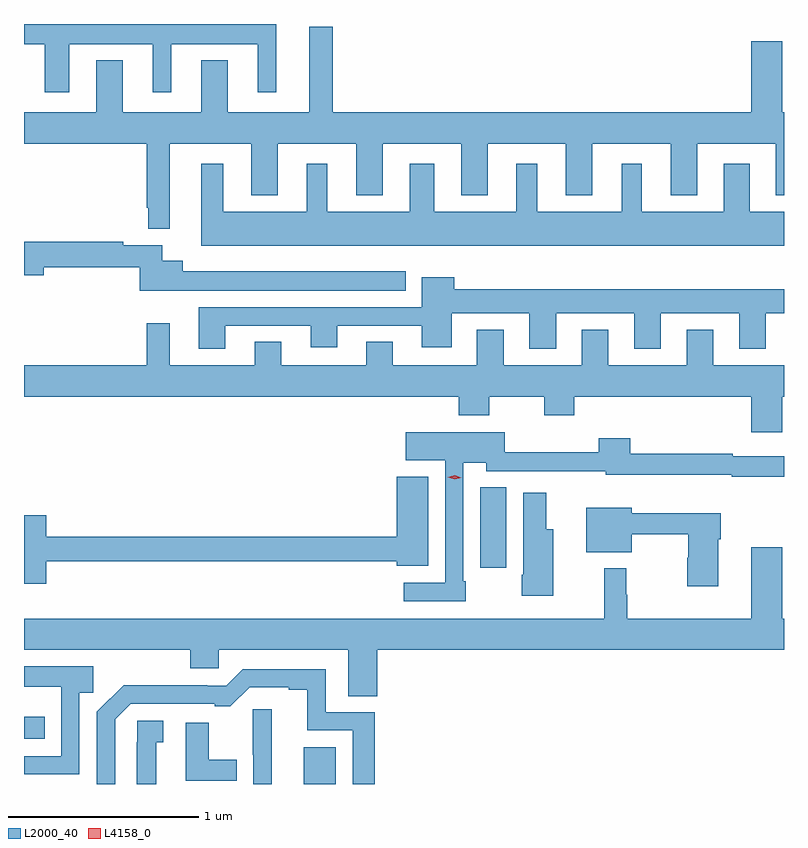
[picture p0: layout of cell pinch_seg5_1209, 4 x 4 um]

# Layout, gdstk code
import gdstk
lib = gdstk.Library(unit=1e-6, precision=1e-09)
def R(c, l, rs):  # rectangles x0, y0, x1, y1
    for r in rs: c.add(gdstk.rectangle(r[:2], r[2:], *l))
def P(c, l, *ps):  # polygons
    for p in ps: c.add(gdstk.Polygon(p, *l))
L2000_40 = (2000, 40)
L4158_0 = (4158, 0)

pinch_seg5_1209 = lib.new_cell('pinch_seg5_1209')
R(pinch_seg5_1209, L2000_40, [(450.365,897.345,450.535,897.538), (448.893,897.582,449.003,897.699), (451.295,898.482,451.432,898.907)])
P(pinch_seg5_1209, L2000_40, [(449.131,901.238),(449.57,901.238),(449.57,900.987),(449.668,900.987),(449.668,901.238),(450.122,901.238),(450.122,900.987),(450.22,900.987),(450.22,901.345),(448.893,901.345),(448.893,901.238),(449.003,901.238),(449.003,900.987),(449.131,900.987)],
  [(449.659,900.716),(450.089,900.716),(450.089,900.443),(450.229,900.443),(450.229,900.716),(450.641,900.716),(450.641,900.443),(450.781,900.443),(450.781,900.716),(451.193,900.716),(451.193,900.443),(451.333,900.443),(451.333,900.716),(451.745,900.716),(451.745,900.443),(451.885,900.443),(451.885,900.716),(452.297,900.716),(452.297,900.443),(452.437,900.443),(452.437,900.716),(452.849,900.716),(452.849,900.443),(452.893,900.443),(452.893,900.88),(452.884,900.88),(452.884,901.255),(452.72,901.255),(452.72,900.88),(450.517,900.88),(450.517,901.33),(450.395,901.33),(450.395,900.88),(449.965,900.88),(449.965,901.153),(449.825,901.153),(449.825,900.88),(449.413,900.88),(449.413,901.153),(449.273,901.153),(449.273,900.88),(448.893,900.88),(448.893,900.716),(449.538,900.716),(449.538,900.379),(449.546,900.379),(449.546,900.267),(449.659,900.267)],
  [(452.893,900.358),(452.713,900.358),(452.713,900.61),(452.576,900.61),(452.576,900.358),(452.143,900.358),(452.143,900.61),(452.039,900.61),(452.039,900.358),(451.594,900.358),(451.594,900.61),(451.484,900.61),(451.484,900.358),(451.051,900.358),(451.051,900.61),(450.923,900.61),(450.923,900.358),(450.49,900.358),(450.49,900.61),(450.38,900.61),(450.38,900.358),(449.941,900.358),(449.941,900.61),(449.825,900.61),(449.825,900.179),(452.893,900.179)],
  [(450.901,900.043),(449.728,900.043),(449.728,900.1),(449.621,900.1),(449.621,900.18),(449.416,900.18),(449.416,900.2),(448.893,900.2),(448.893,900.022),(448.996,900.022),(448.996,900.064),(449.503,900.064),(449.503,899.942),(450.901,899.942)],
  [(449.953,899.757),(450.401,899.757),(450.401,899.645),(450.541,899.645),(450.541,899.757),(450.986,899.757),(450.986,899.645),(451.144,899.645),(451.144,899.822),(451.553,899.822),(451.553,899.637),(451.693,899.637),(451.693,899.822),(452.105,899.822),(452.105,899.637),(452.245,899.637),(452.245,899.822),(452.657,899.822),(452.657,899.637),(452.797,899.637),(452.797,899.822),(452.893,899.822),(452.893,899.95),(451.157,899.95),(451.157,900.013),(450.986,900.013),(450.986,899.853),(449.813,899.853),(449.813,899.637),(449.953,899.637)],
  [(452.884,899.384),(452.893,899.384),(452.893,899.548),(452.521,899.548),(452.521,899.737),(452.381,899.737),(452.381,899.548),(451.969,899.548),(451.969,899.737),(451.829,899.737),(451.829,899.548),(451.417,899.548),(451.417,899.737),(451.277,899.737),(451.277,899.548),(450.835,899.548),(450.835,899.672),(450.695,899.672),(450.695,899.548),(450.247,899.548),(450.247,899.672),(450.107,899.672),(450.107,899.548),(449.659,899.548),(449.659,899.77),(449.538,899.77),(449.538,899.548),(448.893,899.548),(448.893,899.384),(451.181,899.384),(451.181,899.285),(451.341,899.285),(451.341,899.384),(451.63,899.384),(451.63,899.285),(451.79,899.285),(451.79,899.384),(452.72,899.384),(452.72,899.196),(452.884,899.196)],
  [(451.219,898.411),(451.206,898.411),(451.206,899.036),(451.326,899.036),(451.326,898.992),(451.738,898.992),(451.738,898.991),(451.956,898.991),(451.956,898.973),(452.619,898.973),(452.619,898.962),(452.893,898.962),(452.893,899.07),(452.624,899.07),(452.624,899.083),(452.084,899.083),(452.084,899.164),(451.919,899.164),(451.919,899.09),(451.422,899.09),(451.422,899.197),(450.903,899.197),(450.903,899.048),(451.11,899.048),(451.11,898.404),(450.891,898.404),(450.891,898.308),(451.219,898.308)],
  [(449.009,898.518),(450.854,898.518),(450.854,898.493),(451.021,898.493),(451.021,898.963),(450.854,898.963),(450.854,898.646),(449.009,898.646),(449.009,898.759),(448.893,898.759),(448.893,898.398),(449.009,898.398)],
  [(451.678,898.687),(451.642,898.687),(451.642,898.879),(451.52,898.879),(451.52,898.447),(451.513,898.447),(451.513,898.335),(451.678,898.335)],
  [(452.548,898.634),(452.561,898.634),(452.561,898.769),(452.092,898.769),(452.092,898.798),(451.853,898.798),(451.853,898.565),(452.092,898.565),(452.092,898.659),(452.39,898.659),(452.39,898.536),(452.383,898.536),(452.383,898.386),(452.548,898.386)],
  [(450.752,898.052),(452.893,898.052),(452.893,898.216),(452.884,898.216),(452.884,898.591),(452.72,898.591),(452.72,898.216),(452.069,898.216),(452.069,898.34),(452.062,898.34),(452.062,898.48),(451.948,898.48),(451.948,898.216),(448.893,898.216),(448.893,898.052),(449.768,898.052),(449.768,897.954),(449.919,897.954),(449.919,898.052),(450.599,898.052),(450.599,897.808),(450.752,897.808)],
  [(449.184,897.826),(449.258,897.826),(449.258,897.964),(448.893,897.964),(448.893,897.858),(449.088,897.858),(449.088,897.492),(448.893,897.492),(448.893,897.396),(449.184,897.396)],
  [(449.373,897.687),(449.454,897.768),(449.897,897.768),(449.897,897.753),(449.979,897.753),(450.08,897.854),(450.287,897.854),(450.287,897.84),(450.383,897.84),(450.383,897.627),(450.624,897.627),(450.624,897.345),(450.74,897.345),(450.74,897.723),(450.48,897.723),(450.48,897.948),(450.045,897.948),(449.958,897.861),(449.858,897.861),(449.858,897.866),(449.418,897.866),(449.277,897.724),(449.277,897.345),(449.373,897.345)],
  [(450.196,897.739),(450.097,897.739),(450.097,897.498),(450.099,897.498),(450.099,897.345),(450.196,897.345)],
  [(449.59,897.566),(449.626,897.566),(449.626,897.679),(449.488,897.679),(449.488,897.566),(449.486,897.566),(449.486,897.345),(449.59,897.345)],
  [(450.014,897.472),(449.866,897.472),(449.866,897.667),(449.744,897.667),(449.744,897.363),(450.014,897.363)])
P(pinch_seg5_1209, L4158_0, [(451.159,898.949),(451.124,898.96),(451.124,898.96),(451.124,898.96),(451.159,898.969),(451.194,898.958),(451.194,898.958),(451.194,898.958)])

lib.write_gds('pinch_seg5_1209.gds')
